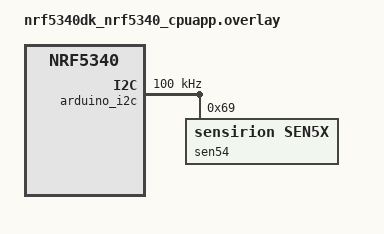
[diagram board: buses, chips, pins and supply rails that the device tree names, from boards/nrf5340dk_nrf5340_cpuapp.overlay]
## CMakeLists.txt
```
cmake_minimum_required(VERSION 3.20.0)

list(APPEND ZEPHYR_EXTRA_MODULES ${CMAKE_CURRENT_SOURCE_DIR}/../sen5x)

find_package(Zephyr REQUIRED HINTS $ENV{ZEPHYR_BASE})
project(sen5x_test)

target_sources(app PRIVATE src/main.c)
```

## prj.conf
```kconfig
CONFIG_SENSOR=y
CONFIG_LOG=y
CONFIG_LOG_DEFAULT_LEVEL=3
CONFIG_SENSOR_LOG_LEVEL_DBG=y
CONFIG_FPU=y
CONFIG_CBPRINTF_FP_SUPPORT=y
```

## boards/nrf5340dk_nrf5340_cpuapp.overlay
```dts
&arduino_i2c {
	clock-frequency = <100000>;

	sen54: sen54@69 {
		compatible = "sensirion,sen5x";
		reg = <0x69>;
	};
};
```

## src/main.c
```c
#include <zephyr/kernel.h>
#include <zephyr/device.h>
#include <zephyr/drivers/sensor.h>
#include <zephyr/drivers/sensor/sen5x.h>
#include <zephyr/logging/log.h>

LOG_MODULE_REGISTER(app, LOG_LEVEL_INF);
static const struct {
    int chan;
    const char *name;
    const char *unit;
} channels[] = {
	{ SENSOR_CHAN_PM_1_0,          "PM1.0", "ug/m3" },
	{ SENSOR_CHAN_PM_2_5,          "PM2.5", "ug/m3" },
	{ SENSOR_CHAN_SEN5X_PM_4_0,    "PM4.0", "ug/m3" },
	{ SENSOR_CHAN_PM_10,           "PM10",  "ug/m3" },
	{ SENSOR_CHAN_HUMIDITY,        "RH",    "%"     },
	{ SENSOR_CHAN_AMBIENT_TEMP,    "Temp",  "C"     },
	{ SENSOR_CHAN_SEN5X_VOC_INDEX, "VOC",   ""      },
	{ SENSOR_CHAN_SEN5X_NOX_INDEX, "NOx",   ""      },
};

int main(void)
{
        const struct device *dev = DEVICE_DT_GET(DT_NODELABEL(sen54));

        int ret;

        if(!device_is_ready(dev)){
            LOG_WRN("SEN5x not ready\n");
            return 0;
        }

        LOG_INF("SEN5x ready: %s\n", dev->name);

        while(1) {
            k_sleep(K_SECONDS(1));

            ret = sensor_sample_fetch(dev);
            if (ret) {
                LOG_WRN("fetch failed (%d)\n", ret);
                continue;
            }
            
            for (size_t i = 0; i< ARRAY_SIZE(channels); i++) {
                struct sensor_value val;
                
                ret = sensor_channel_get(dev, channels[i].chan, &val);
                if (ret == -ENODATA) {
                    LOG_INF("%s: n/a", channels[i].name);
                } else if (ret) {
                    LOG_WRN("%s: get failed (%d)", channels[i].name, ret);
                } else {
                    LOG_INF("%s: %.2f %s", channels[i].name, sensor_value_to_double(&val), channels[i].unit);
                }
            }

            
        }
        return 0;
}
```
